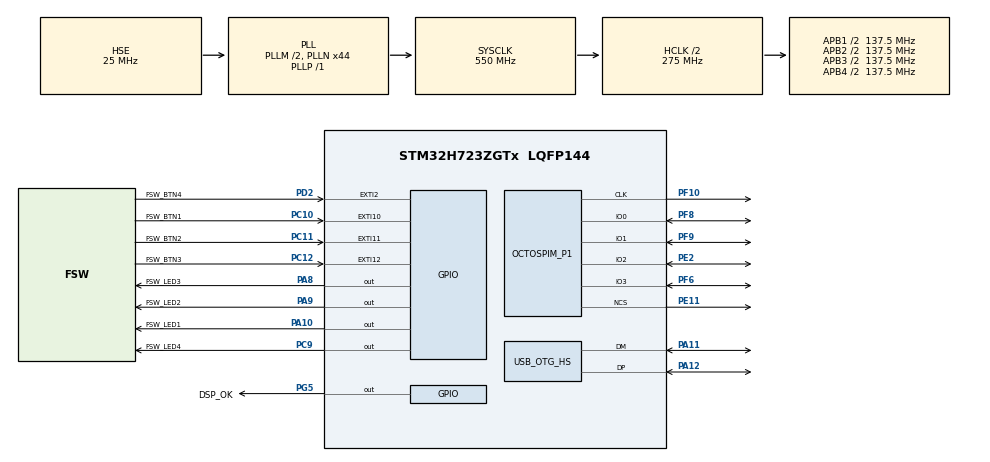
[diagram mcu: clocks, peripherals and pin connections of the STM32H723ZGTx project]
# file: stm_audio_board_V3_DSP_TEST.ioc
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CORTEX_M7.CPU_DCache=Disabled
CORTEX_M7.CPU_ICache=Disabled
CORTEX_M7.MPU_Control=__NULL
CORTEX_M7.default_mode_Activation=0
IWDG1.Prescaler=IWDG_PRESCALER_64
Mcu.Family=STM32H7
Mcu.Name=STM32H723ZGTx
Mcu.Package=LQFP144
NVIC.OTG_HS_IRQn=true\:0\:0\:false\:false\:true\:false\:true\:true
NVIC.PriorityGroup=NVIC_PRIORITYGROUP_4
OCTOSPI1.ClockPrescaler=4
OCTOSPI1.DeviceSize=24
OCTOSPI1.FifoThreshold=4
OCTOSPI1.SampleShifting=HAL_OSPI_SAMPLE_SHIFTING_HALFCYCLE
PA10.GPIO_Label=FSW_LED1
PA10.Signal=GPIO_Output
PA11.Mode=Device_Only_FS
PA11.Signal=USB_OTG_HS_DM
PA12.Mode=Device_Only_FS
PA12.Signal=USB_OTG_HS_DP
PA15(JTDI).Signal=SPI1_NSS
PA5.Signal=FMC_D9_DA9
PA6.Signal=SPI1_MISO
PA8.GPIO_Label=FSW_LED3
PA8.Signal=GPIO_Output
PA9.GPIO_Label=FSW_LED2
PA9.Signal=GPIO_Output
PC0.GPIO_PuPd=GPIO_NOPULL
PC0.Signal=FMC_SDNWE
PC10.GPIO_Label=FSW_BTN1
PC10.GPIO_ModeDefaultEXTI=GPIO_MODE_IT_RISING_FALLING
PC10.Signal=GPXTI10
PC11.GPIO_Label=FSW_BTN2
PC11.GPIO_ModeDefaultEXTI=GPIO_MODE_IT_RISING_FALLING
PC11.Signal=GPXTI11
PC12.GPIO_Label=FSW_BTN3
PC12.GPIO_ModeDefaultEXTI=GPIO_MODE_IT_RISING_FALLING
PC12.Signal=GPXTI12
PC2_C.GPIO_PuPd=GPIO_NOPULL
PC2_C.Signal=FMC_SDNE0
PC3_C.GPIO_PuPd=GPIO_NOPULL
PC3_C.Signal=FMC_SDCKE0
PC9.GPIO_Label=FSW_LED4
PC9.Signal=GPIO_Output
PD12.GPIO_Pu=GPIO_PULLUP
PD12.GPIO_Speed=GPIO_SPEED_FREQ_VERY_HIGH
PD12.Signal=I2C4_SCL
PD13.GPIO_Pu=GPIO_PULLUP
PD13.GPIO_Speed=GPIO_SPEED_FREQ_VERY_HIGH
PD13.Signal=I2C4_SDA
PD2.GPIO_Label=FSW_BTN4
PD2.GPIO_ModeDefaultEXTI=GPIO_MODE_IT_RISING_FALLING
PD2.Signal=GPXTI2
PD7.Signal=SPI1_MOSI
PE11.Mode=OCTOSPI1_Port1_NCS
PE11.Signal=OCTOSPIM_P1_NCS
PE2.Mode=OCTOSPI1_IOL_Port1L
PE2.Signal=OCTOSPIM_P1_IO2
PF10.Mode=O1_P1_CLK
PF10.Signal=OCTOSPIM_P1_CLK
PF6.Mode=OCTOSPI1_IOL_Port1L
PF6.Signal=OCTOSPIM_P1_IO3
PF8.Mode=OCTOSPI1_IOL_Port1L
PF8.Signal=OCTOSPIM_P1_IO0
PF9.Mode=OCTOSPI1_IOL_Port1L
PF9.Signal=OCTOSPIM_P1_IO1
PG11.Signal=SPI1_SCK
PG5.GPIO_Label=DSP_OK
PG5.GPIO_ModeDefaultOutputPP=GPIO_MODE_OUTPUT_PP
PG5.GPIO_PuPd=GPIO_PULLUP
PG5.PinState=GPIO_PIN_SET
PG5.Signal=GPIO_Output
PH0-OSC_IN.Mode=HSE-External-Oscillator
PH0-OSC_IN.Signal=RCC_OSC_IN
PH1-OSC_OUT.Mode=HSE-External-Oscillator
PH1-OSC_OUT.Signal=RCC_OSC_OUT
ProjectManager.HeapSize=0x2000
ProjectManager.StackSize=0x4000
ProjectManager.TargetToolchain=STM32CubeIDE
RCC.ADCFreq_Value=50390625
RCC.APB1Freq_Value=137500000
RCC.APB2Freq_Value=137500000
RCC.APB3Freq_Value=137500000
RCC.APB4Freq_Value=137500000
RCC.CortexFreq_Value=550000000
RCC.D1PPRE=RCC_APB3_DIV2
RCC.D2PPRE1=RCC_APB1_DIV2
RCC.D2PPRE2=RCC_APB2_DIV2
RCC.D3PPRE=RCC_APB4_DIV2
RCC.DIVM1=2
RCC.DIVM3=5
RCC.DIVN1=44
RCC.DIVN3=157
RCC.DIVP1=1
RCC.DIVP3=8
RCC.HCLKFreq_Value=275000000
RCC.HPRE=RCC_HCLK_DIV2
RCC.PLL2FRACN=0
RCC.PLL3FRACN=2950
RCC.PLLFRACN=0
RCC.PLLSourceVirtual=RCC_PLLSOURCE_HSE
RCC.PWR_Regulator_Voltage_Scale=PWR_REGULATOR_VOLTAGE_SCALE0
RCC.SAI1CLockSelection=RCC_SAI1CLKSOURCE_PLL3
RCC.SPI123CLockSelection=RCC_SPI123CLKSOURCE_PLL3
RCC.SYSCLKFreq_VALUE=550000000
RCC.SYSCLKSource=RCC_SYSCLKSOURCE_PLLCLK
RCC.USBCLockSelection=RCC_USBCLKSOURCE_HSI48
RCC.USBFreq_Value=48000000
SH.FMC_D9_DA9.0=FMC_D9
SH.FMC_SDNWE.0=FMC_SDNWE
TIM2.Period=999
TIM2.Prescaler=137
USB_DEVICE.CLASS_NAME_HS=CDC
USB_DEVICE.MANUFACTURER_STRING=SAB effects
USB_DEVICE.PID_CDC_HS=12225
USB_DEVICE.PRODUCT_STRING_CDC_HS=SAB_DISPLAY_bootloader
USB_DEVICE.VirtualMode=Cdc
USB_DEVICE.VirtualModeHS=Cdc_HS
USB_OTG_HS.VirtualMode-Device_Only_FS=Device_Only_FS
VP_IWDG1_VS_IWDG.Mode=IWDG_Activate
VP_MEMORYMAP_VS_MEMORYMAP.Mode=CurAppReg
VP_OCTOSPI1_VS_quad.Mode=quad_mode
VP_TIM2_VS_ClockSourceINT.Mode=Internal
VP_USB_DEVICE_VS_USB_DEVICE_CDC_HS.Mode=CDC_HS
board=custom

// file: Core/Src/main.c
/* USER CODE BEGIN Header */
/**
  ******************************************************************************
  * @file           : main.c
  * @brief          : Main program body
  ******************************************************************************
  * @attention
  *
  * Copyright (c) 2024 STMicroelectronics.
  * All rights reserved.
  *
  * This software is licensed under terms that can be found in the LICENSE file
  * in the root directory of this software component.
  * If no LICENSE file comes with this software, it is provided AS-IS.
  *
  ******************************************************************************
  */
/* USER CODE END Header */
#include "main.h"
#include "iwdg.h"
#include "octospi.h"
#include "tim.h"
#include "usb_device.h"
#include "gpio.h"

/* USER CODE BEGIN Includes */
#include "stm32h7xx_hal.h"

// #include "usbd_core.h"
//#include "usbd_audio.h"
// #include "usbd_desc.h"
#include "usbd_cdc_if.h"
// #include "usb_device.h"
#include "string.h"
#include <math.h>
#include "arm_math.h"

// SAB specifics------START----
// Effects libs

#include "FLASH_SECTOR_H7.h"

// SAB specifics------END----
/* USER CODE END Includes */

void SystemClock_Config(void);

/* USER CODE BEGIN 0 */

#define APP_ADDRESS             0x08020000UL
#define BOOT_REQUEST_MAGIC      0x53414255UL

static uint8_t ApplicationIsValid(void)
{
  const uint32_t stack = *(const uint32_t *)APP_ADDRESS;
  const uint32_t reset = *(const uint32_t *)(APP_ADDRESS + 4U);
  return ((stack & 0x2FFE0000UL) == 0x20000000UL) &&
         ((reset & 0xFF000000UL) == 0x08000000UL);
}

static uint8_t BootRequestPending(void)
{
  HAL_PWR_EnableBkUpAccess();
  if (RTC->BKP0R == BOOT_REQUEST_MAGIC) {
    RTC->BKP0R = 0U;
    return 1U;
  }
  return 0U;
}

static void JumpToApplication(void)
{
    uint32_t *vector_table = (uint32_t *)APP_ADDRESS;

    uint32_t app_stack = vector_table[0];
    uint32_t app_reset = vector_table[1];

    /* Disable interrupts */
    __disable_irq();

    /* Stop SysTick */
    SysTick->CTRL = 0;
    SysTick->LOAD = 0;
    SysTick->VAL  = 0;

    /* Disable NVIC interrupts */
    for(uint32_t i = 0; i < 8; i++)
    {
        NVIC->ICER[i] = 0xFFFFFFFF;
        NVIC->ICPR[i] = 0xFFFFFFFF;
    }

    HAL_RCC_DeInit();
    HAL_DeInit();

//    SCB_CleanInvalidateDCache();
//    SCB_InvalidateICache();

    /* Relocate vector table */
    SCB->VTOR = APP_ADDRESS;

    /* Set MSP */
    __set_MSP(app_stack);

    __DSB();
    __ISB();

    /* Jump */
    void (*app)(void) = (void (*)(void))app_reset;
    __enable_irq();
    app();

    while(1);
}

/*
 * I2C INTERRUPT FUNCTIONS ----------------------------
 */

/* USER CODE END 0 */

int main(void)
{

  /* MCU Configuration--------------------------------------------------------*/

  /* Reset of all peripherals, Initializes the Flash interface and the Systick. */
  HAL_Init();

  /* Configure the system clock */
  SystemClock_Config();

  /* Initialize all configured peripherals */
  MX_GPIO_Init();
  MX_OCTOSPI1_Init();
  MX_TIM2_Init();
  MX_USB_DEVICE_Init();
  MX_IWDG1_Init();
  /* USER CODE BEGIN 2 */
  // uint32_t last_blink_tick = HAL_GetTick();

  /* USER CODE END 2 */

  /* Infinite loop */
  /* USER CODE BEGIN WHILE */
  uint32_t last_blink_tick = 0;
  uint32_t app_blink_tick = HAL_GetTick();
  while (1)
  {
      if(FW_Update_Process()){
        app_blink_tick = HAL_GetTick();
      }
      if (FW_Update_ResetRequested() != 0U)
      {
//        HAL_Delay(20);
        NVIC_SystemReset();
      }

      /* Recovery/idle heartbeat.  Do not delay here: USB must stay responsive. */
      if ((HAL_GetTick() - last_blink_tick) >= 100U)
      {
        HAL_GPIO_TogglePin(DSP_OK_GPIO_Port, DSP_OK_Pin);
        last_blink_tick = HAL_GetTick();
      }
      if ((HAL_GetTick() - app_blink_tick) >= 4000U)
	   {
		 JumpToApplication();
	   }
     HAL_IWDG_Refresh(&hiwdg1);
  }
    /* USER CODE END WHILE */

}

void SystemClock_Config(void)
{
  RCC_OscInitTypeDef RCC_OscInitStruct = {0};
  RCC_ClkInitTypeDef RCC_ClkInitStruct = {0};

  /** Supply configuration update enable
  */
  HAL_PWREx_ConfigSupply(PWR_LDO_SUPPLY);

  /** Configure the main internal regulator output voltage
  */
  __HAL_PWR_VOLTAGESCALING_CONFIG(PWR_REGULATOR_VOLTAGE_SCALE0);

  while(!__HAL_PWR_GET_FLAG(PWR_FLAG_VOSRDY)) {}

  /** Initializes the RCC Oscillators according to the specified parameters
  * in the RCC_OscInitTypeDef structure.
  */
  RCC_OscInitStruct.OscillatorType = RCC_OSCILLATORTYPE_HSI48|RCC_OSCILLATORTYPE_LSI
                              |RCC_OSCILLATORTYPE_HSE;
  RCC_OscInitStruct.HSEState = RCC_HSE_ON;
  RCC_OscInitStruct.LSIState = RCC_LSI_ON;
  RCC_OscInitStruct.HSI48State = RCC_HSI48_ON;
  RCC_OscInitStruct.PLL.PLLState = RCC_PLL_ON;
  RCC_OscInitStruct.PLL.PLLSource = RCC_PLLSOURCE_HSE;
  RCC_OscInitStruct.PLL.PLLM = 2;
  RCC_OscInitStruct.PLL.PLLN = 44;
  RCC_OscInitStruct.PLL.PLLP = 1;
  RCC_OscInitStruct.PLL.PLLQ = 2;
  RCC_OscInitStruct.PLL.PLLR = 2;
  RCC_OscInitStruct.PLL.PLLRGE = RCC_PLL1VCIRANGE_3;
  RCC_OscInitStruct.PLL.PLLVCOSEL = RCC_PLL1VCOWIDE;
  RCC_OscInitStruct.PLL.PLLFRACN = 0;
  if (HAL_RCC_OscConfig(&RCC_OscInitStruct) != HAL_OK)
  {
    Error_Handler();
  }

  /** Initializes the CPU, AHB and APB buses clocks
  */
  RCC_ClkInitStruct.ClockType = RCC_CLOCKTYPE_HCLK|RCC_CLOCKTYPE_SYSCLK
                              |RCC_CLOCKTYPE_PCLK1|RCC_CLOCKTYPE_PCLK2
                              |RCC_CLOCKTYPE_D3PCLK1|RCC_CLOCKTYPE_D1PCLK1;
  RCC_ClkInitStruct.SYSCLKSource = RCC_SYSCLKSOURCE_PLLCLK;
  RCC_ClkInitStruct.SYSCLKDivider = RCC_SYSCLK_DIV1;
  RCC_ClkInitStruct.AHBCLKDivider = RCC_HCLK_DIV2;
  RCC_ClkInitStruct.APB3CLKDivider = RCC_APB3_DIV2;
  RCC_ClkInitStruct.APB1CLKDivider = RCC_APB1_DIV2;
  RCC_ClkInitStruct.APB2CLKDivider = RCC_APB2_DIV2;
  RCC_ClkInitStruct.APB4CLKDivider = RCC_APB4_DIV2;

  if (HAL_RCC_ClockConfig(&RCC_ClkInitStruct, FLASH_LATENCY_3) != HAL_OK)
  {
    Error_Handler();
  }
}

void Error_Handler(void)
{
  /* USER CODE BEGIN Error_Handler_Debug */
	HAL_GPIO_WritePin(GPIOG, GPIO_PIN_5, GPIO_PIN_RESET);
  /* User can add his own implementation to report the HAL error return state */
  __disable_irq();
  while (1)
  {
  }
  /* USER CODE END Error_Handler_Debug */
}
